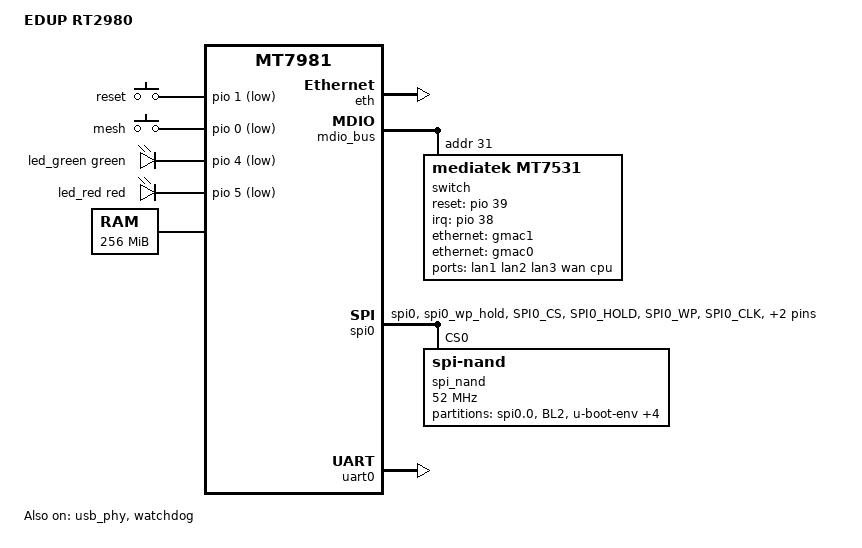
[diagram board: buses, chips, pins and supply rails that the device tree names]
// SPDX-License-Identifier: GPL-2.0-only OR MIT
/dts-v1/;

#include <dt-bindings/gpio/gpio.h>
#include <dt-bindings/input/input.h>
#include <dt-bindings/leds/common.h>

#include "mt7981.dtsi"

/ {
    model = "EDUP RT2980";
    compatible = "edup,rt2980", "mediatek,mt7981";

    aliases {
        serial0 = &uart0;
        label-mac-device = &gmac0;

        led-boot = &led_status_red;
		led-failsafe = &led_status_red;
		led-running = &led_status_green;
		led-upgrade = &led_status_green;

    };

    chosen {
        stdout-path = "serial0:115200n8";
		bootargs = "console=ttyS0,115200n1 loglevel=8 earlycon=uart8250,mmio32,0x11002000";
    };


	gpio-keys {
		compatible = "gpio-keys";

		reset {
			label = "reset";
			linux,code = <KEY_RESTART>;
			gpios = <&pio 1 GPIO_ACTIVE_LOW>;
			debounce-interval = <60>;
		};

		mesh {
			label = "mesh";
			gpios = <&pio 0 GPIO_ACTIVE_LOW>;
			linux,code = <BTN_9>; /* This might need to be mapped to an appropriate OpenWrt key code if BTN_9 is not standard */
			linux,input-type = <EV_SW>;
			debounce-interval = <60>;
		};
	};

    leds {
		compatible = "gpio-leds";

		led_status_green: green {
			label = "led_green";
			gpios = <&pio 4 GPIO_ACTIVE_LOW>;
			function = LED_FUNCTION_STATUS;
			color = <LED_COLOR_ID_GREEN>;
			trigger-sources = "timer";
			default-state = "on";
		};

		led_status_red: red {
			label = "led_red";
			gpios = <&pio 5 GPIO_ACTIVE_LOW>;
			function = LED_FUNCTION_STATUS;
			color = <LED_COLOR_ID_RED>;
		};
	};

    memory {
        reg = <0 0x40000000 0 0x10000000>;
    };
};

&eth {
	status = "okay";
	mediatek,tx-align;
	mediatek,rx-align;

	gmac0: mac@0 {
		compatible = "mediatek,eth-mac";
		reg = <0>;
		phy-mode = "2500base-x";
		/* Immortalwrt uses a fixed-link here, OpenWrt typically defines
		 * the link properties on the switch port connected to the GMAC.
		 * We will define the fixed-link on the switch port later.
		 */
	};

	gmac1: mac@1 {
		compatible = "mediatek,eth-mac";
		reg = <1>;
		phy-mode = "gmii";
		/* In OpenWrt, the PHY connection is typically defined in the switch node */
	};

	mdio: mdio-bus {
		compatible = "mediatek,ethsys-mdio";
		#address-cells = <1>;
		#size-cells = <1>;

		/*
		 * The phy0 definition in Immortalwrt seems to be a direct PHY
		 * node. In OpenWrt with DSA, PHYs are often managed by the switch
		 * driver or defined under the MDIO bus if directly accessible
		 * and needed for specific properties like calibration data.
		 * We will define the switch under the mdio-bus as seen in the
		 * OpenWrt template and link the PHY to the switch port if necessary.
		 */
	};
};

/*
 * The Immortalwrt DTS defines a "gsw" node compatible with "mediatek,mt753x".
 * The OpenWrt template uses "mediatek,mt7531" compatible with a "switch" node
 * under the "mdio_bus". We will adopt the OpenWrt style and define the switch
 * node under the mdio-bus with the appropriate compatible string and properties.
 */
&mdio_bus {
	switch: switch@1f {
		compatible = "mediatek,mt7531"; /* Assuming MT7531 based on common usage with MT7981b */
		reg = <0x1f>;
		/* Reset GPIO polarity might differ, check board schematics if possible. Assuming ACTIVE_HIGH based on template */
		reset-gpios = <&pio 39 GPIO_ACTIVE_HIGH>;
		interrupt-controller;
		#interrupt-cells = <1>;
		interrupt-parent = <&pio>;
		interrupts = <38 IRQ_TYPE_LEVEL_HIGH>;
		status = "okay";

		ports {
			#address-cells = <1>;
			#size-cells = <0>;

			port@0 {
				reg = <0>;
				label = "lan1";
			};

			port@1 {
				reg = <1>;
				label = "lan2";
			};

			port@2 {
				reg = <2>;
				label = "lan3";
			};

			wan: port@3 {
				reg = <3>;
				label = "wan";
				/* MAC address from factory if available */
				nvmem-cell-names = "mac-address";
				nvmem-cells = <&macaddr_factory_4 (-2)>;
			};

			/*
			 * The Immortalwrt DTS has gmac1 with phy-mode "gmii" and phy-handle <&phy0>,
			 * and the gsw node has mediatek,mdio = <&mdio>. This suggests gmac1 connects
			 * to the switch via a PHY. We need to determine which switch port gmac1
			 * is connected to and if the PHY needs a separate node definition.
			 * Based on the OpenWrt template, GMACs are linked to switch ports via the
			 * 'ethernet' property. We will link gmac1 to a switch port, assuming it's
			 * one of the LAN/WAN ports, and the PHY will be handled by the switch driver.
			 * Assuming gmac1 is the CPU port connecting to the switch.
			 */
			port@5 {
				reg = <5>;
				label = "cpu"; // Standard label for CPU port
				ethernet = <&gmac1>; // Connects to the GMII MAC
				phy-mode = "gmii";   // <<< Corrected phy-mode to match gmac1
				/* Tagging is usually required for DSA CPU ports */
				mediatek,mtkhea {
					/* Configure HEA frame headers if needed, often default is fine */
                };
            };

			port@6 {
				reg = <6>;
				ethernet = <&gmac0>;
				phy-mode = "2500base-x";

				fixed-link {
					speed = <2500>;
					full-duplex;
					pause;
				};
			};
		};
	};
};

&spi0 {
	pinctrl-names = "default";
	pinctrl-0 = <&spi0_flash_pins>;
	status = "okay";

	/* ESMT F50L1G41LB (128M) */
	spi_nand@0 {
		#address-cells = <1>;
		#size-cells = <1>;
		compatible = "spi-nand";
		reg = <0>;

		spi-max-frequency = <52000000>;
		spi-tx-bus-width = <4>;
		spi-rx-bus-width = <4>;

		spi-cal-enable;
		spi-cal-mode = "read-data";
		spi-cal-datalen = <7>;
		spi-cal-data = /bits/ 8 <0x53 0x50 0x49 0x4e 0x41 0x4e 0x44>;
		spi-cal-addrlen = <5>;
		spi-cal-addr = /bits/ 32 <0x0 0x0 0x0 0x0 0x0>;

		mediatek,nmbm;
		mediatek,bmt-max-ratio = <1>;
		mediatek,bmt-max-reserved-blocks = <64>;

		partitions {
			compatible = "fixed-partitions";
			#address-cells = <1>;
			#size-cells = <1>;

			partition@0_all {
				label = "spi0.0";
				reg = <0x0 0x8000000>;
				read-only;
			};

			partition@0 {
				label = "BL2";
				reg = <0x0 0x100000>;
				read-only;
			};

			partition@100000 {
				label = "u-boot-env";
				reg = <0x100000 0x80000>;
			};

			partition@180000 {
				label = "Factory";
				reg = <0x180000 0x200000>;
				read-only;

				nvmem-layout {
					compatible = "fixed-layout";
					#address-cells = <1>;
					#size-cells = <1>;

					eeprom_factory_0: eeprom@0 {
						reg = <0x0 0x1000>;
					};

					macaddr_factory_4: macaddr@4 {
						compatible = "mac-base";
						reg = <0x4 0x6>;
						#nvmem-cell-cells = <1>;
					};
				};
			};

			partition@380000 {
				label = "FIP";
				reg = <0x380000 0x200000>;
				read-only;
			};

			partition@580000 {
				label = "ubi";
				reg = <0x580000 0x4000000>;
			};

			partition@4580000 {
				label = "data";
				reg = <0x4580000 0x2000000>;
			};
		};
	};
};

&pio {
	spi0_flash_pins: spi0-pins {
		mux {
			function = "spi";
			groups = "spi0", "spi0_wp_hold";
		};

		conf-pu {
			pins = "SPI0_CS", "SPI0_HOLD", "SPI0_WP";
			drive-strength = <MTK_DRIVE_8mA>;
			bias-pull-up = <MTK_PUPD_SET_R1R0_11>;
		};

		conf-pd {
			pins = "SPI0_CLK", "SPI0_MOSI", "SPI0_MISO";
			drive-strength = <MTK_DRIVE_8mA>;
			bias-pull-down = <MTK_PUPD_SET_R1R0_11>;
		};
	};
};

&uart0 {
	status = "okay";
};

&usb_phy {
	status = "okay";
};

&watchdog {
	status = "okay";
};
/*
&wifi {
	status = "okay";
	nvmem-cell-names = "eeprom";
	nvmem-cells = <&eeprom_factory_0>;
};

&xhci {
	status = "okay";
	mediatek,u3p-dis-msk = <0x1>;
};
*/
